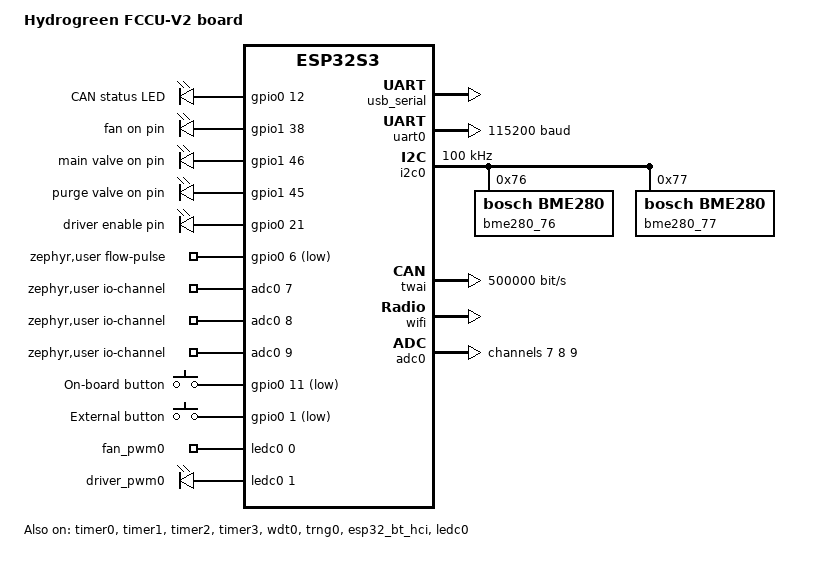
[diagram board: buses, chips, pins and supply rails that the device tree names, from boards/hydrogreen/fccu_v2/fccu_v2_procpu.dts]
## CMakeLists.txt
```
cmake_minimum_required(VERSION 3.20)

# TODO remove ========
set(VENV_PATH "${CMAKE_CURRENT_SOURCE_DIR}/../.venv/Scripts")
set(ENV{ESPTOOL_PATH} "${VENV_PATH}/esptool.exe")

if(WIN32)
    set(ENV{PATH} "${VENV_PATH};$ENV{PATH}")
else()
    set(ENV{PATH} "${VENV_PATH}:$ENV{PATH}")
endif()

set(Python3_EXECUTABLE "${VENV_PATH}/python.exe" CACHE FILEPATH "" FORCE)
set(PYTHON_EXECUTABLE "${VENV_PATH}/python.exe" CACHE FILEPATH "" FORCE)
set(ESPTOOL "${VENV_PATH}/esptool.exe" CACHE FILEPATH "" FORCE)
# TODO remove ========

set(BOARD_ROOT ${CMAKE_CURRENT_SOURCE_DIR} CACHE PATH "Root directory for custom boards")
set(BOARD fccu_v2/esp32s3/procpu CACHE STRING "Zephyr target board")

find_package(Zephyr REQUIRED HINTS $ENV{ZEPHYR_BASE})
project(app LANGUAGES C)

target_compile_options(app PRIVATE -mno-text-section-literals)

target_sources(app PRIVATE
        src/main.c
        src/fccu.c
        src/fccu_analog.c
        src/fccu_fan.c
        src/fccu_digital.c
        src/fccu_flow.c
        src/fccu_log.c
        src/fccu_shell.c
        src/fccu_settings.c
        src/fccu_can_rx.c
        peripherals/can.c
        peripherals/gpio.c
        peripherals/adc.c
        peripherals/pwm.c
        peripherals/counter.c
        peripherals/status_led.c
        src/ads1015.c
        can-definitions/candef.c
)

# fccu_analog.c uses float literals (sensor_value_to_float, 10.0f, etc).
# On ESP32-S3, the IBUS (0x42000000) and DBUS (0x3C000000) are separate virtual
# address spaces. L32R is a data load and goes via DBUS; it can only reach
# literal pools that the DBUS has mapped. Literal pools in IROM (0x42xxxxxx)
# are unreachable by DBUS when the I-Cache line is cold. Moving fccu_analog to
# IRAM keeps both code and literal pools in IRAM, which DBUS can access.
zephyr_code_relocate(FILES src/fccu_analog.c LOCATION SRAM)

target_include_directories(app PRIVATE
        peripherals
        can-definitions
        src
)
```

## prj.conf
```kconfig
CONFIG_GPIO=y
CONFIG_CAN=y
CONFIG_I2C=y
CONFIG_ADC=y
CONFIG_PWM=y
CONFIG_SENSOR=y
CONFIG_BME280=y
CONFIG_COUNTER=y
CONFIG_INPUT=y
CONFIG_INPUT_GPIO_KEYS=y

CONFIG_MAIN_STACK_SIZE=8192
CONFIG_ISR_STACK_SIZE=4096
CONFIG_SYSTEM_WORKQUEUE_STACK_SIZE=4096
CONFIG_LOG_PROCESS_THREAD_STACK_SIZE=2048
CONFIG_SHELL_STACK_SIZE=4096

CONFIG_DEBUG=y
CONFIG_DEBUG_OPTIMIZATIONS=y
CONFIG_DEBUG_THREAD_INFO=y
CONFIG_LOG=y
CONFIG_LOG_DEFAULT_LEVEL=3
CONFIG_LOG_RUNTIME_FILTERING=y
CONFIG_LOG_PRINTK=y
CONFIG_PRINTK=y
CONFIG_THREAD_ANALYZER=y
CONFIG_THREAD_NAME=y
CONFIG_UART_INTERRUPT_DRIVEN=y

CONFIG_LOG_BUFFER_SIZE=4096

CONFIG_REBOOT=y
CONFIG_SHELL=y
CONFIG_KERNEL_SHELL=y
CONFIG_CBPRINTF_FP_SUPPORT=y
CONFIG_SHELL_PROMPT_UART="fccu:~$ "

CONFIG_FLASH=y
CONFIG_FLASH_MAP=y
CONFIG_NVS=y
CONFIG_SETTINGS=y
CONFIG_SETTINGS_NVS=y
```

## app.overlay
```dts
/ {
	chosen {
		zephyr,console = &usb_serial;
		zephyr,shell-uart = &usb_serial;
	};
};
```

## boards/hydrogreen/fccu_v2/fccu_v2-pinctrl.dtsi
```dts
#include <zephyr/dt-bindings/pinctrl/esp-pinctrl-common.h>
#include <dt-bindings/pinctrl/esp32s3-pinctrl.h>
#include <zephyr/dt-bindings/pinctrl/esp32s3-gpio-sigmap.h>

&pinctrl {
	uart0_default: uart0_default {
		group1 {
			pinmux = <UART0_TX_GPIO43>;
			output-high;
		};
		group2 {
			pinmux = <UART0_RX_GPIO44>;
			bias-pull-up;
		};
	};

	uart1_default: uart1_default {
		group1 {
			pinmux = <UART1_TX_GPIO17>;
			output-high;
		};
		group2 {
			pinmux = <UART1_RX_GPIO18>;
			bias-pull-up;
		};
	};

	i2c0_default: i2c0_default {
		group1 {
			pinmux = <I2C0_SDA_GPIO35>,
					 <I2C0_SCL_GPIO34>;
			bias-pull-up;
			drive-open-drain;
			output-high;
		};
	};

	i2c1_default: i2c1_default {
		group1 {
			pinmux = <I2C1_SDA_GPIO4>,
					 <I2C1_SCL_GPIO5>;
			bias-pull-up;
			drive-open-drain;
			output-high;
		};
	};

	i2s0_default: i2s0_default {
		group1 {
			pinmux = <I2S0_MCLK_GPIO4>,
					 <I2S0_O_WS_GPIO5>,
					 <I2S0_O_BCK_GPIO6>,
					 <I2S0_O_SD_GPIO7>,
					 <I2S0_I_WS_GPIO15>,
					 <I2S0_I_BCK_GPIO16>;
			output-enable;
		};
		group2 {
			pinmux = <I2S0_I_SD_GPIO17>;
			input-enable;
		};
	};

	i2s1_default: i2s1_default {
		group1 {
			pinmux = <I2S1_MCLK_GPIO18>,
					 <I2S1_O_WS_GPIO8>,
					 <I2S1_O_BCK_GPIO3>,
					 <I2S1_O_SD_GPIO9>,
					 <I2S1_I_WS_GPIO10>,
					 <I2S1_I_BCK_GPIO11>;
			output-enable;
		};
		group2 {
			pinmux = <I2S1_I_SD_GPIO12>;
			input-enable;
		};
	};

	spim2_default: spim2_default {
		group1 {
			pinmux = <SPIM2_MISO_GPIO13>,
					 <SPIM2_SCLK_GPIO12>,
					 <SPIM2_CSEL_GPIO10>;
		};
		group2 {
			pinmux = <SPIM2_MOSI_GPIO11>;
			output-low;
		};
	};


	twai_default: twai_default {
		group1 {
			pinmux = <TWAI_TX_GPIO39>; // Error in schematics, TX and RX reversed
			output-high; /* Drive TX High (Recessive) by default */
		};
		group2 {
			pinmux = <TWAI_RX_GPIO40>;
			bias-pull-up; /* CRITICAL: Keep RX high to prevent float errors */
		};
	};

//	mcpwm0_default: mcpwm0_default {
//		group1 {
//			pinmux = <MCPWM0_OUT0A_GPIO0>,
//					 <MCPWM0_OUT0B_GPIO2>,
//					 <MCPWM0_OUT1A_GPIO4>;
//			output-enable;
//		};
//		group2 {
//			pinmux = <MCPWM0_CAP0_GPIO5>;
//		};
//	};

	ledc0_default: ledc0_default {
		group1 {
			pinmux = <LEDC_CH0_GPIO37>,
					 <LEDC_CH1_GPIO17>,
					 <LEDC_CH2_GPIO4>;
			output-enable;
		};
	};
};
```

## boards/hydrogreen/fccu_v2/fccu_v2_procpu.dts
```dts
/dts-v1/;

#include <espressif/esp32s3/esp32s3_wroom_n8.dtsi>
#include "fccu_v2-pinctrl.dtsi"
#include <espressif/partitions_0x0_amp.dtsi>
#include <zephyr/dt-bindings/input/input-event-codes.h>


/ {
	model = "Hydrogreen FCCU-V2 board";
	compatible = "hydrogreen,fccu_v2";

	aliases {
		i2c-0 = &i2c0;
		watchdog0 = &wdt0;
		uart-0 = &uart0;
		can = &twai;
		fan-pin = &fan0;
		fan-pwm = &fan_pwm0;
		fan-tacho = &fan_tacho0;
		main-valve-pin = &main_valve0;
		purge-valve-pin = &purge_valve0;
		adc-1 = &adc0;
		can-status-led = &can_led0;
		counter0 = &counter0;
		counter1 = &counter1;
		counter2 = &counter2;
		counter3 = &counter3;
		driver-enable = &driver_enable0;
		driver-pwm = &driver_pwm0;
	};

	chosen {
		zephyr,sram = &sram1;
		zephyr,console = &uart0;
		zephyr,shell-uart = &uart0;
		zephyr,flash = &flash0;
		zephyr,code-partition = &slot0_partition;
		zephyr,bt-hci = &esp32_bt_hci;
		zephyr,canbus = &twai;
	};


	status_leds {
		compatible = "gpio-leds";

		can_led0: can_led_0 {
			gpios = <&gpio0 12 GPIO_ACTIVE_HIGH>;
			label = "CAN status LED";
		};
	};

	gpio_outputs {
		compatible = "gpio-leds";

		fan0: fan_0 {
			gpios = <&gpio1 38 GPIO_ACTIVE_HIGH>;
			label = "fan on pin";
		};
		main_valve0: main_valve_0 {
			gpios = <&gpio1 46 GPIO_ACTIVE_HIGH>;
			label = "main valve on pin";
		};
		purge_valve0: purge_valve_0 {
			gpios = <&gpio1 45 GPIO_ACTIVE_HIGH>;
			label = "purge valve on pin";
		};
		driver_enable0: driver_enable_0 {
			gpios = <&gpio0 21 GPIO_ACTIVE_HIGH>;
			label = "driver enable pin";
		};
	};

	gpio_inputs {
		fan_tacho0: fan_tacho_0 {
			gpios = <&gpio1 36 GPIO_ACTIVE_HIGH>;
			label = "fan tacho";
		};
	};

	zephyr,user {
		io-channels = <&adc0 7>, <&adc0 8>, <&adc0 9>;
		flow-pulse-gpios = <&gpio0 6 GPIO_ACTIVE_LOW>;
	};

	buttons {
		compatible = "gpio-keys";
		btn_onboard: btn_onboard {
			gpios = <&gpio0 11 (GPIO_ACTIVE_LOW | GPIO_PULL_UP)>;
			label = "On-board button";
			zephyr,code = <INPUT_KEY_1>;
		};
		btn_external: btn_external {
			gpios = <&gpio0 1 (GPIO_ACTIVE_LOW | GPIO_PULL_UP)>;
			label = "External button";
			zephyr,code = <INPUT_KEY_0>;
		};
	};

	pwm_leds {
		compatible = "pwm-leds";

		fan_pwm0: fan_pwm_0 {
			pwms = <&ledc0 0 40000 0>;
		};
		driver_pwm0: driver_pwm_0 {
			pwms = <&ledc0 1 40000 0>;
		};
	};
};

&usb_serial {
	status = "okay";
};

&uart0 {
	status = "okay";
	current-speed = <115200>;
	pinctrl-0 = <&uart0_default>;
	pinctrl-names = "default";
};

&gpio0 {
	status = "okay";
};

&gpio1 {
	status = "okay";
};

&i2c0 {
	clock-frequency = <I2C_BITRATE_STANDARD>;
	pinctrl-0 = <&i2c0_default>;
	pinctrl-names = "default";
	status = "okay";

	bme280_76: bme280@76 {
		compatible = "bosch,bme280";
		reg = <0x76>;
		status = "okay";
	};

	bme280_77: bme280@77 {
		compatible = "bosch,bme280";
		reg = <0x77>;
		status = "okay";
	};

	ads1015_48: ads1015@48 {
		compatible = "ti,ads1015";
		reg = <0x48>;
		label = "ADS1015_48";
		#io-channel-cells = <1>;
		#address-cells = <1>;
		#size-cells = <0>;
		status = "disabled";
	};

	ads1015_49: ads1015@49 {
		compatible = "ti,ads1015";
		reg = <0x49>;
		label = "ADS1015_49";
		#io-channel-cells = <1>;
		#address-cells = <1>;
		#size-cells = <0>;
		status = "disabled";
	};
};

&i2c1 {
	clock-frequency = <I2C_BITRATE_STANDARD>;
	pinctrl-0 = <&i2c1_default>;
	pinctrl-names = "default";
	status = "disabled";
};

&i2s0 {
	pinctrl-0 = <&i2s0_default>;
	pinctrl-names = "default";
	status = "disabled";
};

&i2s1 {
	pinctrl-0 = <&i2s1_default>;
	pinctrl-names = "default";
	status = "disabled";
};

&spi2 {
	status = "disabled";
};

&twai {
	pinctrl-0 = <&twai_default>;
	pinctrl-names = "default";
	bus-speed = <500000>;
	status = "okay";
};

&timer0 {
	status = "okay";
	counter0: counter {
		status = "okay";
	};
};

&timer1 {
	status = "okay";
	counter1: counter {
		status = "okay";
	};
};

&timer2 {
	status = "okay";
	counter2: counter {
		status = "okay";
	};
};

&timer3 {
	status = "okay";
	counter3: counter {
		status = "okay";
	};
};

&wdt0 {
	status = "okay";
};

&trng0 {
	status = "okay";
};

&esp32_bt_hci {
	status = "okay";
};

&wifi {
	status = "okay";
};

&adc0 {
	status = "okay";
	unit = <1>;
	#io-channel-cells = <1>;
	#address-cells = <1>;
	#size-cells = <0>;
	channel-count = <10>;

	channel@7 {
		reg = <7>;
		zephyr,gain = "ADC_GAIN_1_4";
		zephyr,reference = "ADC_REF_INTERNAL";
		zephyr,acquisition-time = <ADC_ACQ_TIME_DEFAULT>;
		zephyr,resolution = <12>;
	};
	channel@8 {
		reg = <8>;
		zephyr,gain = "ADC_GAIN_1_4";
		zephyr,reference = "ADC_REF_INTERNAL";
		zephyr,acquisition-time = <ADC_ACQ_TIME_DEFAULT>;
		zephyr,resolution = <12>;
	};
	channel@9 {
		reg = <9>;
		zephyr,gain = "ADC_GAIN_1_4";
		zephyr,reference = "ADC_REF_INTERNAL";
		zephyr,acquisition-time = <ADC_ACQ_TIME_DEFAULT>;
		zephyr,resolution = <12>;
	};
};

&ledc0 {
	status = "okay";
	pinctrl-0 = <&ledc0_default>;
	pinctrl-names = "default";
	#address-cells = <1>;
	#size-cells = <0>;

	channel@0 {
		reg = <0x0>;
		timer = <0>;
	};
	channel@1 {
		reg = <0x1>;
		timer = <1>;
	};
};
```

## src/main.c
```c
#include <zephyr/kernel.h>
#include <zephyr/drivers/gpio.h>
#include <stdio.h>
#include "can.h"
#include <zephyr/device.h>
#include <zephyr/drivers/can.h>

#include "../../zephyr/include/zephyr/devicetree.h"
#include <zephyr/logging/log.h>

#include "fccu.h"

LOG_MODULE_REGISTER(app);

int main()
{
    LOG_INF("Starting program on board: %s\n", CONFIG_BOARD);

    fccu_init();

    while (1) {
        fccu_on_tick();
    }
    return 0;
}
```

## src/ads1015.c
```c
#include "ads1015.h"

void ads1015_init(ads1015_type_t *ads1015_dev)
{
    ads1015_dev->i2c_addr = ADS1015_I2C_ADDRESS;

    ads1015_dev->config.mux_config     = AIN0;
    ads1015_dev->config.gain           = FSR_4_096V;
    ads1015_dev->config.device_mode    = SINGLE_SHOT;
    ads1015_dev->config.data_rate      = SPS_1600;
    ads1015_dev->comparator.comp_queue = DISABLE;

    uint8_t config_reg[2];
    config_reg[0] = (ads1015_dev->config.mux_config << 4) | (ads1015_dev->config.gain << 1) |
                    ads1015_dev->config.device_mode;
    config_reg[1] = (ads1015_dev->config.data_rate << 5) | (ads1015_dev->comparator.comp_queue);

    ads1015_write_reg(ads1015_dev, CONFIG_REGISTER, config_reg, sizeof(config_reg));
}

void ads1015_write_reg(ads1015_type_t *ads1015_dev, uint8_t reg, uint8_t *data, size_t data_len)
{
    uint8_t data_wr[data_len + 1];
    data_wr[0] = reg;

    memcpy(&data_wr[1], data, data_len);

    i2c_write_dt(ads1015_dev->i2c, data_wr, data_len + 1);
}

void ads1015_read_reg(ads1015_type_t *ads1015_dev, uint8_t reg, uint8_t *data_read, size_t data_len)
{
    uint8_t data_wr = reg;
    i2c_write_read_dt(ads1015_dev->i2c, &data_wr, 1, data_read, data_len);
}

int16_t ads1015_read_channel_raw_single_shot(ads1015_type_t       *ads1015_dev,
                                             ads1015_adc_channel_t channel)
{
    if (channel > 3)
        channel = 3;

    uint8_t adc_single_ended[] = {
        AIN0,
        AIN1,
        AIN2,
        AIN3,
    };

    uint8_t config_reg[2];

    ads1015_dev->config.mux_config  = adc_single_ended[channel];
    ads1015_dev->config.device_mode = SINGLE_SHOT;

    ads1015_read_reg(ads1015_dev, CONFIG_REGISTER, config_reg, sizeof(config_reg));
    config_reg[0] &= 0x0E;
    config_reg[0] |= (ads1015_dev->config.mux_config << 4) | (START_SINGLE_CONV << 7) |
                     ads1015_dev->config.device_mode;

    ads1015_write_reg(ads1015_dev, CONFIG_REGISTER, config_reg, sizeof(config_reg));

    do {
        ads1015_read_reg(ads1015_dev, CONFIG_REGISTER, config_reg, sizeof(config_reg));
    } while ((config_reg[0] & 0x80) == CONV_IN_PROGRESS);

    uint8_t adc_data[2];

    ads1015_read_reg(ads1015_dev, CONVERSION_REGISTER, adc_data, sizeof(adc_data));

    int16_t result = ((adc_data[0] << 8) | adc_data[1]) >> 4;

    if (result & 0x0800) {
        result |= 0xF000;
    }
    return result;
}

float ads1015_convert_raw_value_to_voltage(ads1015_type_t *ads1015_dev, int16_t raw_value)
{
    const float lsb_mv[] = {
        0.003f,    // ±6.144V
        0.002f,    // ±4.096V
        0.001f,    // ±2.048V
        0.0005f,   // ±1.024V
        0.00025f,  // ±0.512V
        0.000125f, // ±0.256V
    };

    if (ads1015_dev->config.gain > 5)
        ads1015_dev->config.gain = 5;
    return raw_value * lsb_mv[ads1015_dev->config.gain];
}

float ads1015_read_channel_single_shot(ads1015_type_t *ads1015_dev, ads1015_adc_channel_t channel)
{
    return ads1015_convert_raw_value_to_voltage(
        ads1015_dev, ads1015_read_channel_raw_single_shot(ads1015_dev, channel));
}
```

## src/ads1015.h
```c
#ifndef ADS1015_H
#define ADS1015_H

#include <stdint.h>
#include <zephyr/drivers/i2c.h>
#include <string.h>

/** @brief Default I2C address of the ADS1015 (ADDR pin tied to GND). */
#define ADS1015_I2C_ADDRESS 0x48

/**
 * @brief ADS1015 internal register address pointer values.
 */
typedef enum {
    CONVERSION_REGISTER = 0x00, /**< Most recent conversion result. */
    CONFIG_REGISTER     = 0x01, /**< Device configuration and OS bit. */
    LOW_TRESH_REGISTER  = 0x02, /**< Comparator low-threshold register. */
    HIGH_TRESH_REGISTER = 0x03, /**< Comparator high-threshold register. */
} ads1015_addr_ptr_reg_t;

/**
 * @brief Programmable gain amplifier (PGA) full-scale range settings.
 */
typedef enum {
    FSR_6_144V = 0x00, /**< ±6.144 V full-scale range. */
    FSR_4_096V = 0x01, /**< ±4.096 V full-scale range. */
    FSR_2_048V = 0x02, /**< ±2.048 V full-scale range (default). */
    FSR_1_024V = 0x03, /**< ±1.024 V full-scale range. */
    FSR_0_512V = 0x04, /**< ±0.512 V full-scale range. */
    FSR_0_256V = 0x05, /**< ±0.256 V full-scale range. */
} ads1015_prog_gain_amplifier_t;

/**
 * @brief ADC data rate (samples per second) settings.
 */
typedef enum {
    SPS_128  = 0x00, /**< 128 samples per second. */
    SPS_250  = 0x01, /**< 250 samples per second. */
    SPS_490  = 0x02, /**< 490 samples per second. */
    SPS_920  = 0x03, /**< 920 samples per second. */
    SPS_1600 = 0x04, /**< 1600 samples per second (default). */
    SPS_2400 = 0x05, /**< 2400 samples per second. */
    SPS_3300 = 0x06, /**< 3300 samples per second. */
} ads1015_data_rate_t;

/**
 * @brief Input multiplexer configuration (single-ended and differential pairs).
 */
typedef enum {
    AIN0_AIN1 = 0x00, /**< Differential: AIN0 − AIN1. */
    AIN0_AIN3 = 0x01, /**< Differential: AIN0 − AIN3. */
    AIN1_AIN3 = 0x02, /**< Differential: AIN1 − AIN3. */
    AIN2_AIN3 = 0x03, /**< Differential: AIN2 − AIN3. */
    AIN0      = 0x04, /**< Single-ended: AIN0 vs GND. */
    AIN1      = 0x05, /**< Single-ended: AIN1 vs GND. */
    AIN2      = 0x06, /**< Single-ended: AIN2 vs GND. */
    AIN3      = 0x07, /**< Single-ended: AIN3 vs GND. */
} ads1015_input_mux_config_t;

/**
 * @brief Logical ADC channel indices used by the high-level read API.
 */
typedef enum {
    ADC_CHANNEL_0, /**< Physical pin AIN0. */
    ADC_CHANNEL_1, /**< Physical pin AIN1. */
    ADC_CHANNEL_2, /**< Physical pin AIN2. */
    ADC_CHANNEL_3, /**< Physical pin AIN3. */
} ads1015_adc_channel_t;

/**
 * @brief Conversion mode selection.
 */
typedef enum {
    CONTINOUS_CONVERSION = 0x00, /**< Continuous-conversion mode. */
    SINGLE_SHOT          = 0x01, /**< Power-down after each conversion. */
} ads1015_device_mode_t;

/**
 * @brief Comparator output mode.
 */
typedef enum {
    TRADITIONAL = 0x00, /**< Traditional comparator with hysteresis. */
    WINDOW      = 0x01, /**< Window comparator. */
} ads1015_comp_mode_t;

/**
 * @brief Comparator output polarity.
 */
typedef enum {
    ACTIVE_LOW  = 0x00, /**< ALERT/RDY pin active low (default). */
    ACTIVE_HIGH = 0x01, /**< ALERT/RDY pin active high. */
} ads1015_comp_polarity_t;

/**
 * @brief Comparator output latching behaviour.
 */
typedef enum {
    NONLATCHING = 0x00, /**< Comparator output does not latch. */
    LATCHING    = 0x01, /**< Comparator output latches until cleared. */
} ads1015_comp_latching_t;

/**
 * @brief Number of consecutive out-of-range readings before ALERT/RDY fires.
 */
typedef enum {
    AFTER_1_CONV = 0x00, /**< Assert after one conversion. */
    AFTER_2_CONV = 0x01, /**< Assert after two conversions. */
    AFTER_4_CONV = 0x02, /**< Assert after four conversions. */
    DISABLE      = 0x03, /**< Disable the comparator (default). */
} ads1015_comp_queue_t;

/**
 * @brief OS (operational status) field written to the config register.
 */
typedef enum {
    IDLE              = 0x00, /**< No effect (device not idle). */
    START_SINGLE_CONV = 0x01, /**< Start a single-shot conversion. */
} operational_status_write_t;

/**
 * @brief OS field read back from the config register.
 */
typedef enum {
    CONV_IN_PROGRESS, /**< Device is currently converting. */
    CONV_DONE,        /**< Conversion is complete; result ready. */
} operational_status_read_t;

/**
 * @brief Comparator configuration bit-fields (maps to config register bits 0–4).
 */
typedef struct {
    ads1015_comp_mode_t     comp_mode : 1;     /**< Comparator mode. */
    ads1015_comp_polarity_t comp_polarity : 1; /**< ALERT/RDY polarity. */
    ads1015_comp_latching_t comp_latching : 1; /**< Latching behaviour. */
    ads1015_comp_queue_t    comp_queue : 2;    /**< Queue / disable setting. */
} ads1015_comp_t;

/**
 * @brief ADC configuration bit-fields (maps to config register bits 5–15).
 */
typedef struct {
    ads1015_input_mux_config_t    mux_config : 3;  /**< Input multiplexer selection. */
    ads1015_prog_gain_amplifier_t gain : 3;        /**< PGA full-scale range. */
    ads1015_device_mode_t         device_mode : 1; /**< Continuous or single-shot. */
    ads1015_data_rate_t           data_rate : 3;   /**< Samples per second. */
} ads1015_config_t;

/**
 * @brief ADS1015 device handle holding I2C reference and current configuration.
 */
typedef struct {
    const struct i2c_dt_spec *i2c;        /**< Zephyr I2C devicetree spec for this device. */
    uint16_t                  i2c_addr;   /**< I2C address (normally ADS1015_I2C_ADDRESS). */
    ads1015_config_t          config;     /**< Current ADC configuration. */
    ads1015_comp_t            comparator; /**< Current comparator configuration. */
} ads1015_type_t;

/**
 * @brief Initialise an ADS1015 device with default configuration.
 *
 * Sets single-ended mode on AIN0, FSR_4_096V gain, single-shot mode,
 * 1600 SPS data rate, and disables the comparator. Writes the configuration
 * to the device over I2C.
 *
 * @param ads1015_dev Pointer to the device handle to initialise.
 */
void ads1015_init(ads1015_type_t *ads1015_dev);

/**
 * @brief Write a register on the ADS1015 over I2C.
 *
 * Prepends the register address byte to @p data and performs a single I2C
 * write transaction.
 *
 * @param ads1015_dev Pointer to the device handle.
 * @param reg         Register address (see ads1015_addr_ptr_reg_t).
 * @param data        Pointer to the data bytes to write.
 * @param data_len    Number of data bytes (excluding the register byte).
 */
void ads1015_write_reg(ads1015_type_t *ads1015_dev, uint8_t reg, uint8_t *data, size_t data_len);

/**
 * @brief Read a register from the ADS1015 over I2C.
 *
 * Performs a combined write (register address) / read (data) I2C transaction.
 *
 * @param ads1015_dev Pointer to the device handle.
 * @param reg         Register address (see ads1015_addr_ptr_reg_t).
 * @param data_read   Buffer to store the read bytes.
 * @param data_len    Number of bytes to read.
 */
void ads1015_read_reg(ads1015_type_t *ads1015_dev, uint8_t reg, uint8_t *data_read,
                      size_t data_len);

/**
 * @brief Trigger a single-shot conversion and return the raw 12-bit result.
 *
 * Selects the requested single-ended channel, starts a conversion, then polls
 * the OS bit until the result is ready. Returns a sign-extended 12-bit value.
 *
 * @param ads1015_dev Pointer to the device handle.
 * @param channel     Channel to sample (ADC_CHANNEL_0 … ADC_CHANNEL_3).
 * @return Raw signed 12-bit ADC result.
 */
int16_t ads1015_read_channel_raw_single_shot(ads1015_type_t       *ads1015_dev,
                                             ads1015_adc_channel_t channel);

/**
 * @brief Convert a raw 12-bit ADC result to a voltage using the current PGA setting.
 *
 * Uses the LSB size table derived from the configured gain to scale @p raw_value.
 *
 * @param ads1015_dev Pointer to the device handle (provides the gain setting).
 * @param raw_value   Signed 12-bit raw ADC result.
 * @return Voltage in volts.
 */
float ads1015_convert_raw_value_to_voltage(ads1015_type_t *ads1015_dev, int16_t raw_value);

/**
 * @brief Perform a single-shot conversion and return the result as a voltage.
 *
 * Convenience wrapper that calls ads1015_read_channel_raw_single_shot() and
 * ads1015_convert_raw_value_to_voltage() in sequence.
 *
 * @param ads1015_dev Pointer to the device handle.
 * @param channel     Channel to sample (ADC_CHANNEL_0 … ADC_CHANNEL_3).
 * @return Measured voltage in volts.
 */
float ads1015_read_channel_single_shot(ads1015_type_t *ads1015_dev, ads1015_adc_channel_t channel);

#endif /* ADS1015_H */
```

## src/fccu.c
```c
#include "fccu.h"
#include "fccu_analog.h"
#include "fccu_fan.h"
#include "fccu_digital.h"
#include "fccu_flow.h"
#include "fccu_log.h"
#include "fccu_settings.h"
#include "fccu_can_rx.h"
#include "can.h"
#include "candef.h"
#include "counter.h"

#include <zephyr/logging/log.h>

LOG_MODULE_REGISTER(fccu, LOG_LEVEL_INF);

volatile fccu_flags_t flags;
volatile fccu_state_t state = STOPPED;

static uint32_t purge_periodic_ticks;
static uint32_t ads_can_ticks = FCCU_CAN_ADS_PERIOD_S - 1U;

fccu_fc_v_source_t g_fc_v_source = FC_V_SOURCE_ADC;

fccu_can_t can = {
    .can_device     = DEVICE_DT_GET(DT_ALIAS(can)),
    .can_status_led = GPIO_DT_SPEC_GET(DT_ALIAS(can_status_led), gpios),
};

static fccu_counter_t counter = {
    .counter_measurements            = DEVICE_DT_GET(DT_ALIAS(counter0)),
    .counter_fuel_cell_voltage_check = DEVICE_DT_GET(DT_ALIAS(counter1)),
    .counter2                        = DEVICE_DT_GET(DT_ALIAS(counter2)),
    .counter3                        = DEVICE_DT_GET(DT_ALIAS(counter3)),
};

static void measurements_work_fn(struct k_work *work);
static K_WORK_DELAYABLE_DEFINE(measurements_work, measurements_work_fn);

static void can_state_change_cb(const struct device *dev, enum can_state cs,
                                struct can_bus_err_cnt err_cnt, void *user_data);
static void can_led_work_fn(struct k_work *work);

static K_WORK_DELAYABLE_DEFINE(can_led_work, can_led_work_fn);

static void can_led_work_fn(struct k_work *work)
{
    enum can_state         cs;
    struct can_bus_err_cnt ec;
    if (can_get_state(can.can_device, &cs, &ec) == 0) {
        can_state_change_cb(can.can_device, cs, ec, NULL);
    }
    k_work_reschedule(&can_led_work, K_SECONDS(2));
}

static void can_state_change_cb(const struct device *dev, enum can_state cs,
                                struct can_bus_err_cnt err_cnt, void *user_data)
{
    ARG_UNUSED(dev);
    ARG_UNUSED(user_data);

    switch (cs) {
    case CAN_STATE_ERROR_ACTIVE:
        status_led_set(STATUS_LED_OPERATIONAL);
        break;
    case CAN_STATE_ERROR_WARNING:
    case CAN_STATE_ERROR_PASSIVE:
        status_led_set(STATUS_LED_WARNING);
        break;
    case CAN_STATE_BUS_OFF:
        status_led_set(STATUS_LED_BUS_OFF);
        break;
    default:
        break;
    }
}

static void fccu_can_init()
{
    status_led_init(&can.can_status_led, NULL);
    status_led_set(STATUS_LED_INIT);
    can_set_state_change_callback(can.can_device, can_state_change_cb, NULL);
    can_init(can.can_device, 500000);
    k_work_reschedule(&can_led_work, K_SECONDS(2));
}

static void counter_cb_measurements(const struct device *dev, void *user_data)
{
    ARG_UNUSED(dev);
    ARG_UNUSED(user_data);
    flags.measurements_tick = true;
}

static void fccu_counters_init()
{
    counter_init(counter.counter_measurements);
}

static void fccu_counters_set_interrupts()
{
    counter_set_alarm(counter.counter_measurements, 0, counter_cb_measurements, 1000000);
}

bool fccu_fc_v_valid()
{
    if (g_fc_v_source == FC_V_SOURCE_ADC) {
        return true;
    }
    return mcu_data.last_rx_ms != 0 && (k_uptime_get() - mcu_data.last_rx_ms) < FC_V_CAN_STALE_MS;
}

float fccu_fc_v_get()
{
    if (g_fc_v_source == FC_V_SOURCE_CAN && fccu_fc_v_valid()) {
        return mcu_data.fc_v;
    }
    return adc.fuel_cell_voltage.voltage;
}

const char *fccu_fc_v_source_name(fccu_fc_v_source_t src)
{
    return src == FC_V_SOURCE_CAN ? "can" : "adc";
}

void fccu_process_measurements()
{
    static int64_t last_ms;
    int64_t        now_ms = k_uptime_get();

    if (now_ms - last_ms < 900) {
        return;
    }
    last_ms = now_ms;

    fccu_bmp280_sensor_read();
    fccu_bmp280_sensor2_read();
    fccu_adc_read();
    fccu_flow_on_tick();

    if (g_fan_manual) {
        fan_pwm_percent = g_fan_manual_duty_pct;
    } else {
        fan_pwm_percent = fccu_fan_compute_duty(sensor.temperature);
    }

    fccu_fan_pwm_set(fan_pwm_percent);

    if (++ads_can_ticks >= FCCU_CAN_ADS_PERIOD_S) {
        fccu_ads1015_read();
        fccu_adc_can_send();
        fccu_ads1015_can_send();
        ads_can_ticks = 0;
    }

    if (state == RUNNING && !flags.purge_valve_on) {
        switch (g_purge_mode) {
        case PURGE_MODE_THRESHOLD: {
            float fc_past;
            float fc_now = fccu_fc_v_get();
            if (fccu_fc_v_valid() && fccu_log_get_fc_ago(PURGE_COMPARE_SAMPLES, &fc_past) &&
                fc_past - fc_now >= g_purge_threshold_v) {
                LOG_INF("Threshold purge: FC drop %.2f V (source=%s)", (double)(fc_past - fc_now),
                        fccu_fc_v_source_name(g_fc_v_source));
                fccu_purge_valve_on();
            }
            break;
        }
        case PURGE_MODE_PERIODIC:
            purge_periodic_ticks++;
            if (purge_periodic_ticks >= g_purge_periodic_interval_s) {
                LOG_INF("Periodic purge (%u s)", g_purge_periodic_interval_s);
                fccu_purge_valve_on();
                purge_periodic_ticks = 0;
            }
            break;
        case PURGE_MODE_MANUAL:
            break;
        }
    }

    fccu_log_sample_t s = {
        .ts_ms     = k_uptime_get(),
        .fc_v      = fccu_fc_v_get(),
        .sc_v      = adc.supercap_voltage.voltage,
        .lp_bar    = ads1015_data.lp_sensor,
        .flow_rate = flow_rate_lnmin,
        .fan_duty  = fan_pwm_percent,
        .ntc_t     = adc.temp_c,
        .bme76_t   = sensor.temperature,
        .bme76_h   = sensor.humidity,
        .bme76_p   = sensor.pressure,
        .bme77_t   = sensor2.temperature,
        .bme77_h   = sensor2.humidity,
        .bme77_p   = sensor2.pressure,
    };
    for (int i = 0; i < 4; i++) {
        s.ho_current[i] = ads1015_data.ho_current[i];
    }
    fccu_log_add(&s);
}

static void measurements_work_fn(struct k_work *work)
{
    ARG_UNUSED(work);
    fccu_process_measurements();
    k_work_reschedule(&measurements_work, K_SECONDS(1));
}

void fccu_can_send_state()
{
    struct candef_fccu_state_t msg = {
        .state      = candef_fccu_state_state_encode((double)state),
        .main_valve = candef_fccu_state_main_valve_encode(flags.main_valve_on ? 1.0 : 0.0),
        .purge_mode = candef_fccu_state_purge_mode_encode((double)g_purge_mode),
        .fan_mode   = candef_fccu_state_fan_mode_encode(g_fan_manual ? 0.0 : 1.0),
        .fan_duty   = candef_fccu_state_fan_duty_encode((double)fan_pwm_percent),
        .purge_interval_s =
            candef_fccu_state_purge_interval_s_encode((double)g_purge_periodic_interval_s),
    };
    uint8_t buf[CANDEF_FCCU_STATE_LENGTH];
    candef_fccu_state_pack(buf, &msg, sizeof(buf));
    can_send_(can.can_device, CANDEF_FCCU_STATE_FRAME_ID, buf, sizeof(buf));
}

void fccu_start()
{
    state = RUNNING;
    fccu_main_valve_on();
    g_purge_mode         = PURGE_MODE_PERIODIC;
    purge_periodic_ticks = 0;
    LOG_INF("System started");
}

void fccu_stop()
{
    state = STOPPED;
    fccu_main_valve_off();
    g_purge_mode         = PURGE_MODE_MANUAL;
    purge_periodic_ticks = 0;
    LOG_INF("System stopped");
}

void fccu_init()
{
    flags.measurements_tick = false;
    flags.purge_valve_on    = false;

    fccu_adc_init();
    fccu_ads1015_init();
    fccu_can_init();
    fccu_valves_init();
    fccu_buttons_init();
    fccu_fan_init();
    fccu_flow_init();
    fccu_counters_init();
    fccu_counters_set_interrupts();
    fccu_bmp280_sensor_init();
    fccu_bmp280_sensor2_init();
    fccu_settings_init();
    fccu_fan_apply_saved();
    fccu_can_rx_init();

    fccu_process_measurements();
    k_work_reschedule(&measurements_work, K_SECONDS(1));
}

void fccu_on_tick()
{
    static int64_t fast_can_last_ms;

    if (flags.measurements_tick) {
        fccu_process_measurements();
        flags.measurements_tick = false;
    }

    int64_t now_ms = k_uptime_get();
    if (now_ms - fast_can_last_ms >= FCCU_CAN_FAST_PERIOD_MS) {
        fccu_can_send_state();
        fccu_hydrogen_can_send();
        fccu_environment_can_send();
        fast_can_last_ms = now_ms;
    }

    k_msleep(100);
}
```

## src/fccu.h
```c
#ifndef FCCU_H
#define FCCU_H

#include <zephyr/kernel.h>
#include <zephyr/drivers/sensor.h>
#include <zephyr/drivers/can.h>
#include "gpio.h"
#include "pwm.h"
#include "adc.h"
#include "status_led.h"

/** @brief Duration of a single purge valve pulse in milliseconds. */
#define PURGE_DURATION_MS 300

/** @brief Number of past samples compared for threshold-based purge detection. */
#define PURGE_COMPARE_SAMPLES 180

/** @brief Fuel cell voltage drop (V) that triggers a threshold-mode purge. */
#define PURGE_THRESHOLD_FC_DROP_V 5.0f

/** @brief Fan proportional controller target temperature in degrees Celsius. */
#define FAN_TARGET_C 50.0f

/** @brief Temperature deadband around FAN_TARGET_C where fan duty is clamped to minimum. */
#define FAN_DEADBAND_C 1.0f

/** @brief Temperature above FAN_TARGET_C at which fan duty reaches 100 %. */
#define FAN_FULLSCALE_C 10.0f

/** @brief Minimum fan duty cycle percentage when the fan is running. */
#define FAN_MIN_DUTY_PCT 20

/** @brief Default periodic purge interval in seconds. */
#define PURGE_PERIODIC_INTERVAL_S 60

/** @brief Number of samples averaged for HO-10P zero-current calibration. */
#define HO_ZERO_CAL_SAMPLES 100

/** @brief HO-10P current sensor conversion factor: amperes per volt. */
#define HO_I_PER_V (-12.2449f)

/** @brief Flowmeter pulse-to-volume factor: normalised litres per pulse. */
#define FLOW_LN_PER_PULSE 0.01f

/** @brief Moving average window size used for all sensor smoothing. */
#define MOV_AVG_SIZE 20

/** @brief NTC divider supply voltage (V). */
#define NTC_VCC_V 3.3f

/** @brief NTC divider fixed resistor (Ω). */
#define NTC_R_FIXED_OHM 4700.0f

/** @brief NTC nominal resistance at 25 °C (Ω). */
#define NTC_R0_OHM 1000.0f

/** @brief NTC β coefficient (K). */
#define NTC_BETA_K 3950.0f

/** @brief NTC reference temperature for R₀ (K). */
#define NTC_T0_K 298.15f

#define FCCU_CAN_FAST_PERIOD_MS 100
#define FCCU_CAN_STATUS_PERIOD_S 1
#define FCCU_CAN_ADS_PERIOD_S 5

/** @brief Maximum age of MCU CAN fc_v before threshold purge is skipped (ms). */
#define FC_V_CAN_STALE_MS 5000

/**
 * @brief Source for fuel cell voltage used in threshold purge and the log buffer.
 */
typedef enum {
    FC_V_SOURCE_ADC, /**< Local ESP32 ADC (zephyr,user ch0). */
    FC_V_SOURCE_CAN, /**< MCU_ANALOG_FUEL_CELL from CAN (mcu_data.fc_v). */
} fccu_fc_v_source_t;

/**
 * @brief Single ADC channel with its raw count and converted voltage.
 */
typedef struct {
    struct adc_dt_spec adc_channel; /**< Zephyr DT ADC channel spec. */
    int16_t            raw_value;   /**< Most recent raw ADC count. */
    float              voltage;     /**< Converted and averaged voltage (V). */
} fccu_adc_device_t;

/**
 * @brief Aggregated native ESP32 ADC measurements.
 */
typedef struct {
    fccu_adc_device_t fuel_cell_voltage; /**< Fuel cell stack voltage channel. */
    fccu_adc_device_t supercap_voltage;  /**< Supercapacitor voltage channel. */
    fccu_adc_device_t temp_sensor;       /**< NTC temperature channel on GPIO10 (ADC1 ch9). */
    float             temp_c;            /**< Averaged NTC temperature (°C). */
} fccu_adc_t;

/**
 * @brief Processed data from both ADS1015 ICs.
 */
typedef struct {
    float ads48[4];      /**< Raw ADS1015@48 channel voltages (V). */
    float ads49[4];      /**< Raw ADS1015@49 channel voltages (V). */
    int16_t ads48_raw[4]; /**< Raw ADS1015@48 ADC counts. */
    int16_t ads49_raw[4]; /**< Raw ADS1015@49 ADC counts. */
    float fc_current;    /**< Fuel cell current derived from ads48[0] (A). */
    float fc_temp_c;     /**< Fuel cell NTC temperature from ads48[1] (°C). */
    float hp_sensor;     /**< High-pressure sensor voltage from ads48[2] (V). */
    float lp_sensor;     /**< Low-pressure sensor voltage from ads48[3] (V). */
    float ho_current[4]; /**< HO-10P hall-effect currents from ads49 channels (A). */
} ads1015_adc_data_t;

/**
 * @brief Fan hardware resources.
 */
typedef struct {
    struct pwm_dt_spec  fan_pwm;    /**< PWM output for speed control. */
    struct gpio_dt_spec fan_on_pin; /**< GPIO that enables the fan driver IC. */
} fccu_fan_t;

/**
 * @brief Hydrogen valve GPIO pins.
 */
typedef struct {
    struct gpio_dt_spec main_valve_on_pin;  /**< Main hydrogen supply valve. */
    struct gpio_dt_spec purge_valve_on_pin; /**< Purge / exhaust valve. */
} fccu_valve_pin_t;

/**
 * @brief CAN bus hardware resources and status LED.
 */
typedef struct {
    const struct device *can_device;     /**< Zephyr CAN device handle. */
    struct gpio_dt_spec  can_status_led; /**< LED that mirrors CAN bus state. */
} fccu_can_t;

/**
 * @brief BME280 environmental sensor state and averaged readings.
 */
typedef struct {
    const struct device *sensor;             /**< Zephyr sensor device handle. */
    struct sensor_value  temperature_buffer; /**< Raw Zephyr temperature value. */
    struct sensor_value  pressure_buffer;    /**< Raw Zephyr pressure value. */
    struct sensor_value  humidity_buffer;    /**< Raw Zephyr humidity value. */
    float                temperature;        /**< Averaged temperature (°C). */
    float                pressure;           /**< Averaged pressure (hPa × 10). */
    float                humidity;           /**< Averaged relative humidity (%). */
} bmp280_sensor_t;

/**
 * @brief Counter device handles used for periodic hardware alarms.
 */
typedef struct {
    const struct device *counter_measurements;            /**< 1 Hz measurement tick counter. */
    const struct device *counter_fuel_cell_voltage_check; /**< Reserved voltage-check counter. */
    const struct device *counter2;                        /**< Reserved counter 2. */
    const struct device *counter3;                        /**< Reserved counter 3. */
} fccu_counter_t;

/**
 * @brief Global state flags shared across all FCCU modules.
 */
typedef struct {
    bool main_valve_on;     /**< True when the main hydrogen valve is open. */
    bool purge_valve_on;    /**< True while a purge valve pulse is active. */
    bool fan_on;            /**< True when the fan enable GPIO is asserted. */
    bool measurements_tick; /**< Set by the 1 Hz k_timer; cleared after processing. */
} fccu_flags_t;

/**
 * @brief Current driver hardware resources (reserved for future use).
 */
typedef struct {
    struct pwm_dt_spec  driver_pwm;        /**< PWM output for the current driver. */
    struct gpio_dt_spec driver_enable_pin; /**< Enable GPIO for the current driver. */
} fccu_current_driver_t;

/**
 * @brief Top-level fuel cell operating states.
 */
typedef enum {
    RUNNING,    /**< Main valve open; automatic purge active. */
    STOPPED,    /**< Main valve closed; purge in manual mode. */
    IDLE_STATE, /**< Transitional / unused state. */
} fccu_state_t;

extern volatile fccu_flags_t flags; /**< Global FCCU state flags. */
extern volatile fccu_state_t state; /**< Current operating state of the fuel cell. */
extern fccu_can_t            can;   /**< CAN bus device and status LED. */

extern float g_purge_threshold_v; /**< FC voltage drop threshold for threshold-mode purge (V). */
extern fccu_fc_v_source_t g_fc_v_source; /**< FC voltage source for threshold purge. */

/**
 * @brief Return true when the configured fc_v source has fresh data.
 */
bool fccu_fc_v_valid();

/**
 * @brief Get fuel cell voltage from the configured purge/log source.
 */
float fccu_fc_v_get();

/**
 * @brief Human-readable name for an fc_v source selector.
 */
const char *fccu_fc_v_source_name(fccu_fc_v_source_t src);

/**
 * @brief Initialise all FCCU subsystems.
 *
 * Must be called once from main() before the control loop starts. Initialises
 * ADC, ADS1015, CAN, valves, buttons, fan, flowmeter, and hardware counters
 * in the correct dependency order.
 */
void fccu_init();

/**
 * @brief Read sensors, update fan, log sample, and send slow CAN telemetry.
 *
 * Called from the 1 Hz system work item and from the hardware counter fallback.
 */
void fccu_process_measurements();

/**
 * @brief Execute one iteration of the main FCCU control loop.
 *
 * Handles fast CAN telemetry and the counter-based measurement fallback.
 * Periodic sensor reads run on the system workqueue via measurements_work.
 */
void fccu_on_tick();

void fccu_can_send_state();

/**
 * @brief Start the fuel cell system: open main valve, enable periodic purge.
 */
void fccu_start();

/**
 * @brief Stop the fuel cell system: close main valve, purge manual only.
 */
void fccu_stop();

#endif /* FCCU_H */
```

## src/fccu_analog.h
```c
#ifndef FCCU_ANALOG_H
#define FCCU_ANALOG_H

#include "fccu.h"

extern bool
    g_analog_log_enabled; /**< When false, periodic FC_V/LP/flow LOG_INF lines are suppressed. */
extern fccu_adc_t         adc;          /**< Native ESP32 ADC measurement data. */
extern bmp280_sensor_t    sensor;       /**< BME280 at I2C address 0x76. */
extern bmp280_sensor_t    sensor2;      /**< BME280 at I2C address 0x77. */
extern ads1015_adc_data_t ads1015_data; /**< Most recent ADS1015 measurements. */
extern float ho_zero_v[4]; /**< HO-10P zero-current calibration offsets (V), one per channel. */

/**
 * @brief Convert an NTC divider tap voltage to temperature in degrees Celsius.
 *
 * Uses the Steinhart-Hart β equation with constants from fccu.h (NTC_VCC_V,
 * NTC_R_FIXED_OHM, NTC_R0_OHM, NTC_BETA_K). Returns NAN when the voltage is
 * out of range or the result is non-physical.
 *
 * @param adc_voltage Measured divider tap voltage in volts.
 * @return Temperature in °C, or NAN on error.
 */
float fccu_ntc_voltage_to_celsius(float adc_voltage);

/**
 * @brief Initialise the native ESP32 ADC channels.
 *
 * Calls adc_init() for the fuel cell voltage, supercapacitor voltage, and NTC
 * temperature channels defined in the devicetree zephyr,user node.
 */
void fccu_adc_init();

/**
 * @brief Read all native ADC channels.
 *
 * Reads fuel cell voltage, supercap voltage, and temperature; applies
 * moving-average filtering.
 */
void fccu_adc_read();

void fccu_adc_can_send();

void fccu_hydrogen_can_send();

/**
 * @brief Probe ADS1015 ICs on I2C and run HO-10P zero calibration.
 *
 * Attempts to contact ADS1015@48 and ADS1015@49. Devices that respond are
 * initialised and their detection flags set. If ADS1015@49 is present,
 * performs a blocking HO_ZERO_CAL_SAMPLES-point zero calibration.
 */
void fccu_ads1015_init();

/**
 * @brief Read both ADS1015 ICs.
 *
 * Skips a device if it was not detected during init. Applies moving-average
 * filtering and derives fc_current, fc_temp_c, hp_sensor, lp_sensor, and
 * ho_current from the raw channel voltages.
 */
void fccu_ads1015_read();

void fccu_ads1015_can_send();

/**
 * @brief Verify that BME280 at I2C address 0x76 is ready.
 *
 * Logs an error if the Zephyr sensor driver did not initialise the device
 * successfully. Does not perform any I2C transaction.
 */
void fccu_bmp280_sensor_init();

/**
 * @brief Verify that BME280 at I2C address 0x77 is ready.
 *
 * Logs an error if the Zephyr sensor driver did not initialise the device
 * successfully. Does not perform any I2C transaction.
 */
void fccu_bmp280_sensor2_init();

/**
 * @brief Fetch one sample from BME280@76 and update the sensor struct.
 *
 * Calls sensor_sample_fetch() and reads temperature, pressure, and humidity
 * into sensor.temperature / .pressure / .humidity with moving-average smoothing.
 * On I2C failure the bus is recovered via i2c_recover_bus() and the function
 * returns without updating data.
 */
void fccu_bmp280_sensor_read();

/**
 * @brief Fetch one sample from BME280@77 and update sensor2.
 *
 * Calls sensor_sample_fetch() and reads all channels into sensor2 with
 * moving-average smoothing. On I2C failure the bus is recovered.
 */
void fccu_bmp280_sensor2_read();

void fccu_environment_can_send();

#endif /* FCCU_ANALOG_H */
```

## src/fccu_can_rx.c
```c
#include "fccu_can_rx.h"
#include "fccu.h"
#include "can.h"
#include "candef.h"

#include <zephyr/drivers/can.h>
#include <zephyr/logging/log.h>

LOG_MODULE_REGISTER(fccu_can_rx, LOG_LEVEL_INF);

fccu_mcu_data_t mcu_data;

static void rx_fuel_cell_cb(const struct device *dev, struct can_frame *frame, void *user_data)
{
    ARG_UNUSED(dev);
    ARG_UNUSED(user_data);

    struct candef_mcu_analog_fuel_cell_t msg;
    if (candef_mcu_analog_fuel_cell_unpack(&msg, frame->data, frame->dlc) != 0) {
        return;
    }
    mcu_data.fc_v = (float)candef_mcu_analog_fuel_cell_fuel_cell_output_voltage_decode(
        msg.fuel_cell_output_voltage);
    mcu_data.fc_c = (float)candef_mcu_analog_fuel_cell_fuel_cell_output_current_decode(
        msg.fuel_cell_output_current);
    mcu_data.hp_bar = (float)candef_mcu_analog_fuel_cell_hydrogen_high_pressure_decode(
        msg.hydrogen_high_pressure);
    mcu_data.leakage_v = (float)candef_mcu_analog_fuel_cell_hydrogen_leakage_sensor_voltage_decode(
        msg.hydrogen_leakage_sensor_voltage);
    mcu_data.last_rx_ms = k_uptime_get();
}

static void rx_powertrain_cb(const struct device *dev, struct can_frame *frame, void *user_data)
{
    ARG_UNUSED(dev);
    ARG_UNUSED(user_data);

    struct candef_mcu_analog_powertrain_t msg;
    if (candef_mcu_analog_powertrain_unpack(&msg, frame->data, frame->dlc) != 0) {
        return;
    }
    mcu_data.sc_v = (float)candef_mcu_analog_powertrain_supercapacitor_voltage_decode(
        msg.supercapacitor_voltage);
    mcu_data.sc_c = (float)candef_mcu_analog_powertrain_supercapacitor_current_decode(
        msg.supercapacitor_current);
    mcu_data.mc_v = (float)candef_mcu_analog_powertrain_motor_controller_supply_voltage_decode(
        msg.motor_controller_supply_voltage);
    mcu_data.mc_c = (float)candef_mcu_analog_powertrain_motor_controller_supply_current_decode(
        msg.motor_controller_supply_current);
    mcu_data.last_rx_ms = k_uptime_get();
}

void fccu_can_rx_init()
{
    static const struct can_filter filter_fc = {
        .id    = CANDEF_MCU_ANALOG_FUEL_CELL_FRAME_ID,
        .mask  = CAN_EXT_ID_MASK,
        .flags = CAN_FRAME_IDE,
    };
    static const struct can_filter filter_pt = {
        .id    = CANDEF_MCU_ANALOG_POWERTRAIN_FRAME_ID,
        .mask  = CAN_EXT_ID_MASK,
        .flags = CAN_FRAME_IDE,
    };

    can_add_rx_filter_(can.can_device, rx_fuel_cell_cb, &filter_fc);
    can_add_rx_filter_(can.can_device, rx_powertrain_cb, &filter_pt);

    LOG_INF("CAN RX: listening on 0x%03x (FC) and 0x%03x (powertrain)",
            CANDEF_MCU_ANALOG_FUEL_CELL_FRAME_ID, CANDEF_MCU_ANALOG_POWERTRAIN_FRAME_ID);
}
```

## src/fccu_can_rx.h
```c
#ifndef FCCU_CAN_RX_H
#define FCCU_CAN_RX_H

#include <stdbool.h>
#include <stdint.h>

/**
 * @brief Latest data received from the Master Control Unit over CAN.
 *
 * Populated by RX callbacks for MCU_ANALOG_FUEL_CELL (0x104) and
 * MCU_ANALOG_POWERTRAIN (0x105). All values remain 0 until the first
 * frame of each type arrives.
 */
typedef struct {
    float   fc_v;       /**< Fuel cell output voltage (V). */
    float   fc_c;       /**< Fuel cell output current (A). */
    float   hp_bar;     /**< Hydrogen high pressure (bar). */
    float   sc_v;       /**< Supercapacitor voltage (V). */
    float   sc_c;       /**< Supercapacitor current (A). */
    float   mc_v;       /**< Motor controller supply voltage (V). */
    float   mc_c;       /**< Motor controller supply current (A). */
    float   leakage_v;  /**< Hydrogen leakage sensor voltage (V). */
    int64_t last_rx_ms; /**< k_uptime_get() timestamp of the most recent frame. */
} fccu_mcu_data_t;

extern fccu_mcu_data_t mcu_data; /**< Latest received MCU telemetry. */

/**
 * @brief Register CAN RX filters for MCU_ANALOG_FUEL_CELL and MCU_ANALOG_POWERTRAIN.
 *
 * Must be called after the CAN controller is started (i.e. after fccu_can_init()).
 */
void fccu_can_rx_init();

#endif /* FCCU_CAN_RX_H */
```

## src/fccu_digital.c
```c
#include "fccu_digital.h"

#include <zephyr/drivers/gpio.h>
#include <zephyr/input/input.h>
#include <zephyr/logging/log.h>

LOG_MODULE_REGISTER(fccu_digital, LOG_LEVEL_INF);

fccu_valve_pin_t valve_pin = {
    .main_valve_on_pin  = GPIO_DT_SPEC_GET(DT_ALIAS(main_valve_pin), gpios),
    .purge_valve_on_pin = GPIO_DT_SPEC_GET(DT_ALIAS(purge_valve_pin), gpios),
};

float             g_purge_threshold_v         = PURGE_THRESHOLD_FC_DROP_V;
fccu_purge_mode_t g_purge_mode                = PURGE_MODE_PERIODIC;
uint32_t          g_purge_periodic_interval_s = PURGE_PERIODIC_INTERVAL_S;
uint32_t          g_purge_duration_ms         = PURGE_DURATION_MS;

static struct k_work_delayable purge_valve_off_work;

static void purge_valve_off_fn(struct k_work *work)
{
    ARG_UNUSED(work);
    gpio_reset(&valve_pin.purge_valve_on_pin);
    flags.purge_valve_on = false;
    LOG_INF("Purge valve OFF");
}

void fccu_valves_init()
{
    gpio_init(&valve_pin.main_valve_on_pin, GPIO_OUTPUT_INACTIVE);
    gpio_init(&valve_pin.purge_valve_on_pin, GPIO_OUTPUT_INACTIVE);
    k_work_init_delayable(&purge_valve_off_work, purge_valve_off_fn);
    flags.main_valve_on  = false;
    flags.purge_valve_on = false;
}

void fccu_main_valve_on()
{
    gpio_set(&valve_pin.main_valve_on_pin);
    flags.main_valve_on = true;
    LOG_INF("Main valve on");
}

void fccu_main_valve_off()
{
    gpio_reset(&valve_pin.main_valve_on_pin);
    flags.main_valve_on = false;
    LOG_INF("Main valve off");
}

void fccu_purge_valve_on_ms(uint32_t ms)
{
    gpio_set(&valve_pin.purge_valve_on_pin);
    flags.purge_valve_on = true;
    LOG_INF("Purge valve ON (%u ms)", ms);
    k_work_reschedule(&purge_valve_off_work, K_MSEC(ms));
}

void fccu_purge_valve_on()
{
    fccu_purge_valve_on_ms(g_purge_duration_ms);
}

static void led_test_off_fn(struct k_work *work);
static K_WORK_DELAYABLE_DEFINE(led_test_off_work, led_test_off_fn);

static void led_test_off_fn(struct k_work *work)
{
    ARG_UNUSED(work);
    status_led_set_override(false);
}

static int ext_click_count;

static void ext_click_fn(struct k_work *work);
static K_WORK_DELAYABLE_DEFINE(ext_click_work, ext_click_fn);

static void ext_click_fn(struct k_work *work)
{
    ARG_UNUSED(work);
    int clicks      = ext_click_count;
    ext_click_count = 0;

    if (clicks == 1) {
        if (state == RUNNING) {
            LOG_INF("External button: single click — stopping");
            fccu_stop();
        } else {
            LOG_INF("External button: single click — starting");
            fccu_start();
        }
    } else if (clicks >= 2) {
        LOG_INF("External button: double click — manual purge");
        if (!flags.purge_valve_on) {
            fccu_purge_valve_on_ms(100);
        }
    }
}

static void button_cb(struct input_event *evt, void *user_data)
{
    ARG_UNUSED(user_data);
    if (evt->type != INPUT_EV_KEY) {
        return;
    }

    if (evt->code == INPUT_KEY_1) {
        if (evt->value) {
            LOG_INF("On-board button: pressed");
            status_led_set_override(true);
            k_work_reschedule(&led_test_off_work, K_SECONDS(2));
        }
    } else if (evt->code == INPUT_KEY_0) {
        if (evt->value) {
            LOG_INF("External button: pressed");
            ext_click_count++;
            k_work_reschedule(&ext_click_work, K_MSEC(400));
        } else {
            LOG_INF("External button: released");
        }
    }
}
INPUT_CALLBACK_DEFINE(NULL, button_cb, NULL);

void fccu_buttons_init()
{
    LOG_INF("Buttons configured via input subsystem");
}
```
